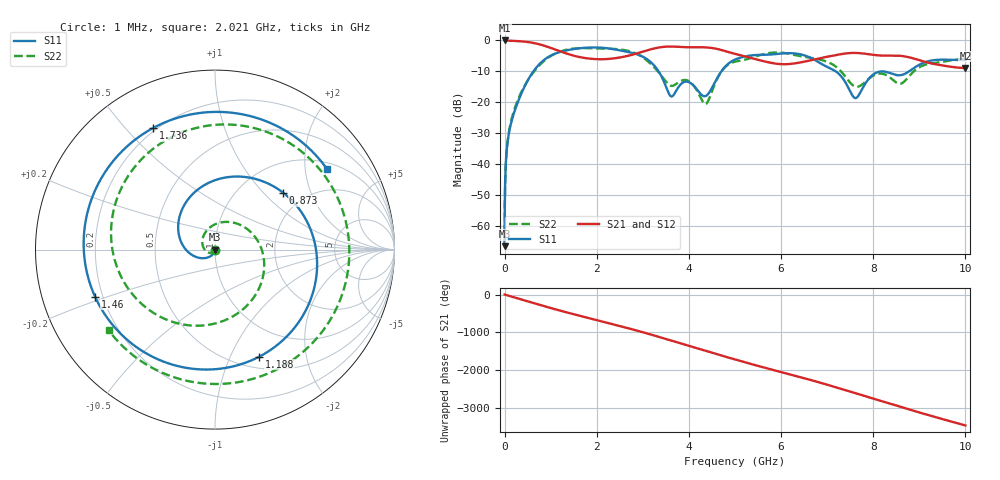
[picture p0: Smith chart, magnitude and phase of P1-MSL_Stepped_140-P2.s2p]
!Created with skrf (http://scikit-rf.org).
# GHz S RI R 50.0
!freq ReS11 ImS11 ReS21 ImS21 ReS12 ImS12 ReS22 ImS22
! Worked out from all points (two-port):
!   10000 points, 1 MHz to 10 GHz, reference 50 ohm
!   highest |S21| = 0.00 dB at 1 MHz (marker M1); lowest = -8.9 dB at 10 GHz (marker M2)
!   |S21| within 3 dB of the highest: start of sweep to 1.113 GHz; 3.137 GHz to 4.682 GHz (1.545 GHz wide, 39.5 % of centre)
!   lowest |S11| = -66.5 dB at 1 MHz (marker M3), VSWR 1.00, Z = 50 - j0.0472 ohm
!   |S11| at or under -10 dB: start of sweep to 625.5 MHz; 3.343 GHz to 4.704 GHz (1.361 GHz wide, 33.8 % of centre); 7.187 GHz to 8.187 GHz (1 GHz wide, 13 % of centre)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
!   |S22| runs from -66.5 to -2.5 dB; largest |S21 - S12| = 7.5e-16
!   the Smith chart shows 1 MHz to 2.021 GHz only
!   S11 on the Smith chart (normalised r, x): 1 MHz: 1.00, -0.00; 873 MHz: 1.56, +1.31; 1.188 GHz: 0.63, -1.29; 1.46 GHz: 0.17, -0.18; 1.736 GHz: 0.19, +0.60; 2.021 GHz: 1.20, +2.62
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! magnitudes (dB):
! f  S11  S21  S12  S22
! 1 MHz  -66.5  0.0  0.0  -66.5
! 64 MHz  -33.1  0.0  0.0  -32.8
! 172 MHz  -25.0  -0.1  -0.1  -24.3
! 500 MHz  -13.0  -0.5  -0.5  -13.0
! 873 MHz  -6.1  -1.8  -1.8  -6.4
! 1.188 GHz  -3.8  -3.4  -3.4  -3.7
! 1.46 GHz  -2.9  -4.8  -4.8  -2.7
! 1.668 GHz  -2.5  -5.5  -5.5  -2.5
! 1.736 GHz  -2.4  -5.7  -5.7  -2.5
! 2.021 GHz  -2.3  -6.1  -6.1  -2.6
! 2.806 GHz  -4.2  -4.5  -4.5  -3.9
! 3.334 GHz  -9.8  -2.3  -2.3  -10.1
! 3.61 GHz  -18.1  -2.0  -2.0  -14.6
! 3.944 GHz  -13.3  -2.2  -2.2  -12.8
! 4.36 GHz  -18.0  -2.2  -2.2  -20.6
! 5.001 GHz  -6.2  -4.3  -4.3  -6.9
! 6.667 GHz  -5.8  -6.3  -6.3  -5.7
! 7.607 GHz  -18.6  -4.0  -4.0  -14.9
! 8.334 GHz  -10.4  -4.9  -4.9  -11.6
! 8.597 GHz  -11.2  -5.0  -5.0  -14.0
! 9.084 GHz  -7.3  -6.8  -6.8  -8.1
! 10 GHz  -6.3  -8.9  -8.9  -6.0
